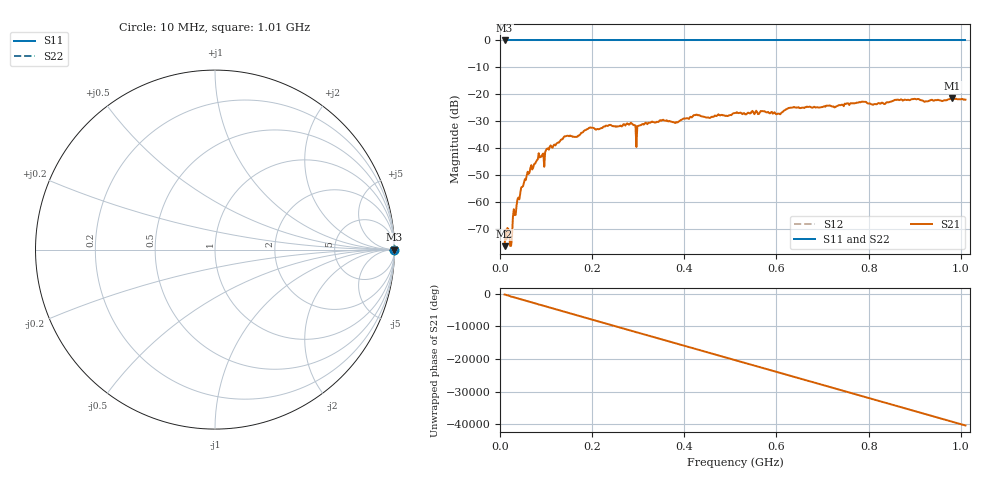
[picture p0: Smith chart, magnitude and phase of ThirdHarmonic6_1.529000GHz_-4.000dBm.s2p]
! 8/16/2025 6:04:57 PM
! C:\ANRITSUVNA\TEMP\TEMP.S2P
! CHANNEL.1
! TR.MEASUREMENT
! RAW.DATA
! RF.CORRECTION.OFF
! AVERAGING.OFF
! IF.BANDWIDTH: 5KHZ
! SWEEPTYPE:  FREQ.SWEEP(Linear)
! Reference Plane Port Info
! PORT:  PORT1  PORT2
! DISTANCE:  0  m  0  m
! TIME:  0  s  0  s
! PHASE.OFFSET:  0  deg.  0  deg.
! LOSS:  0  dB  0  dB
! REF.LOSS:  0  dB  0  dB
! REF.FREQ:  0  Hz  0  Hz
! Power Info
! POWER:  -20  dBm  -20  dBm
! EFF.POWER:  -20  dBm  -20  dBm
! SOURCE.ATTEN:  0  dB  0  dB
! TEST.ATTEN:  0  dB  0  dB
# GHZ S RI R 50.0
! FREQ.GHZ  S11RE  S11IM  S21RE  S21IM  S12RE  S12IM  S22RE  S22IM
!; PortSelection: Port_12
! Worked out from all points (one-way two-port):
!   501 points, 10 MHz to 1.01 GHz, reference 50 ohm
!   highest |S21| = -21.46 dB at 982 MHz (marker M1); lowest = -76.2 dB at 10 MHz (marker M2)
!   lowest |S11| = 0.0 dB at 10 MHz (marker M3)
!   |S11| at or under -10 dB: nowhere
!   |S22| runs from 0.0 to 0.0 dB; largest |S21 - S12| = 1.1
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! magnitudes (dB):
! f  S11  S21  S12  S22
! 10 MHz  0.0  -76.2  0.0  0.0
! 16 MHz  0.0  -69.5  0.0  0.0
! 22 MHz  0.0  -76.1  0.0  0.0
! 26 MHz  0.0  -73.1  0.0  0.0
! 32 MHz  0.0  -64.7  0.0  0.0
! 42 MHz  0.0  -58.8  0.0  0.0
! 56 MHz  0.0  -51.6  0.0  0.0
! 80 MHz  0.0  -44.4  0.0  0.0
! 142 MHz  0.0  -35.5  0.0  0.0
! 178 MHz  0.0  -34.2  0.0  0.0
! 196 MHz  0.0  -32.2  0.0  0.0
! 280 MHz  0.0  -31.2  0.0  0.0
! 300 MHz  0.0  -31.6  0.0  0.0
! 302 MHz  0.0  -31.5  0.0  0.0
! 344 MHz  0.0  -30.2  0.0  0.0
! 510 MHz  0.0  -26.9  0.0  0.0
! 604 MHz  0.0  -27.1  0.0  0.0
! 630 MHz  0.0  -24.9  0.0  0.0
! 678 MHz  0.0  -24.9  0.0  0.0
! 844 MHz  0.0  -22.9  0.0  0.0
! 982 MHz  0.0  -21.5  0.0  0.0
! 1.01 GHz  0.0  -21.9  0.0  0.0
